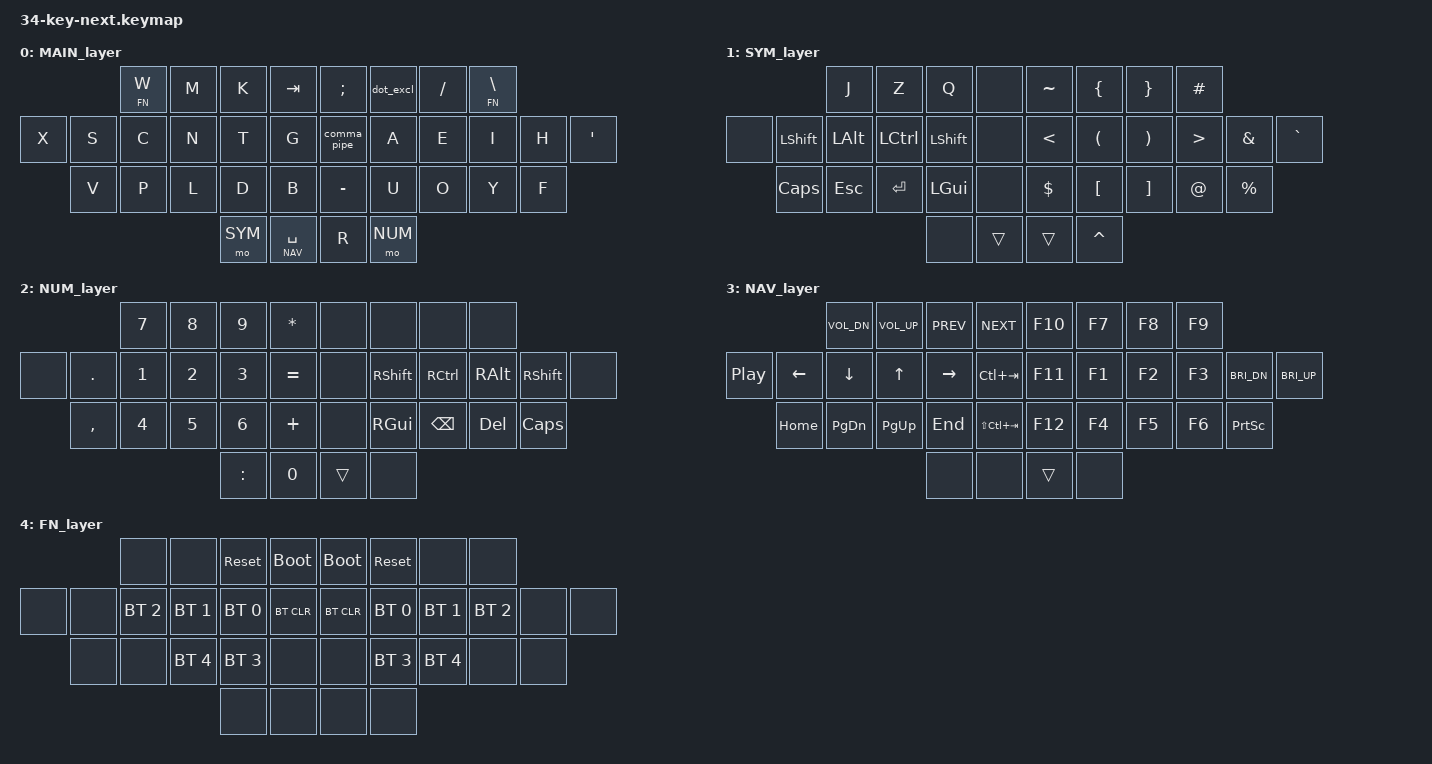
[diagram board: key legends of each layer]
#include <behaviors.dtsi>
#include <dt-bindings/zmk/keys.h>
#include <dt-bindings/zmk/bt.h>

#define MAIN 0
#define SYM 1
#define NUM 2
#define NAV 3
#define FN 4

&mt {
    flavor = "tap-preferred";
    tapping_term_ms = <125>;
};

/ {
    behaviors {
        dot_excl: dot_excl {
            compatible = "zmk,behavior-mod-morph";
            label = "DOT_EXCL";
            #binding-cells = <0>;
            bindings = <&kp DOT>, <&kp EXCL>;
            mods = <(MOD_LSFT|MOD_RSFT)>;
        };

        comma_pipe: comma_pipe {
            compatible = "zmk,behavior-mod-morph";
            label = "COMMA_PIPE";
            #binding-cells = <0>;
            bindings = <&kp COMMA>, <&kp PIPE>;
            mods = <(MOD_LSFT|MOD_RSFT)>;
        };
    };

    keymap {
        compatible = "zmk,keymap";

        MAIN_layer {
            bindings = <
                        &lt FN W &kp M &kp K   &kp TAB          &kp SEMI    &dot_excl &kp FSLH &lt FN BSLH
            &kp X &kp S &kp C    &kp N &kp T   &kp G            &comma_pipe &kp A     &kp E    &kp I       &kp H &kp SQT
                  &kp V &kp P    &kp L &kp D   &kp B            &kp MINUS   &kp U     &kp O    &kp Y       &kp F
                                       &mo SYM &lt NAV SPC      &kp R       &mo NUM
            >;
        };

        SYM_layer {
            bindings = <
                            &kp J    &kp Z     &kp Q     &none       &kp TILDE &kp LBRC  &kp RBRC &kp HASH
            &none &kp LSHFT &kp LALT &kp LCTRL &kp LSHFT &none       &kp LT    &kp LPAR  &kp RPAR &kp GT   &kp AMPS  &kp GRAVE
                  &kp CAPS  &kp ESC  &kp ENTER &kp LGUI  &none       &kp DLLR  &kp LBKT  &kp RBKT &kp AT   &kp PRCNT
                                               &none     &trans      &trans    &kp CARET
            >;
        };

        NUM_layer {
            bindings = <
                            &kp N7 &kp N8 &kp N9    &kp STAR       &none  &none     &none     &none
            &none &kp DOT   &kp N1 &kp N2 &kp N3    &kp EQUAL      &none  &kp RSHFT &kp RCTRL &kp RALT &kp RSHFT &none
                  &kp COMMA &kp N4 &kp N5 &kp N6    &kp PLUS       &none  &kp RGUI  &kp BSPC  &kp DEL  &kp CAPS
                                          &kp COLON &kp N0         &trans &none
            >;
        };

        NAV_layer {
            bindings = <
                              &kp C_VOL_DN &kp C_VOL_UP &kp C_PREV &kp C_NEXT           &kp F10 &kp F7 &kp F8 &kp F9
            &kp C_PP &kp LEFT &kp DOWN     &kp UP       &kp RIGHT  &kp LC(TAB)          &kp F11 &kp F1 &kp F2 &kp F3 &kp C_BRI_DN &kp C_BRI_UP
                     &kp HOME &kp PG_DN    &kp PG_UP    &kp END    &kp LS(LC(TAB))      &kp F12 &kp F4 &kp F5 &kp F6 &kp PSCRN
                                                        &none      &none                &trans  &none
            >;
        };

        FN_layer {
            bindings = <
                        &none        &none        &sys_reset   &bootloader      &bootloader &sys_reset   &none        &none
            &none &none &bt BT_SEL 2 &bt BT_SEL 1 &bt BT_SEL 0 &bt BT_CLR       &bt BT_CLR  &bt BT_SEL 0 &bt BT_SEL 1 &bt BT_SEL 2 &none &none
                  &none &none        &bt BT_SEL 4 &bt BT_SEL 3 &none            &none       &bt BT_SEL 3 &bt BT_SEL 4 &none        &none
                                                  &none        &none            &none       &none
            >;
        };
    };
};
